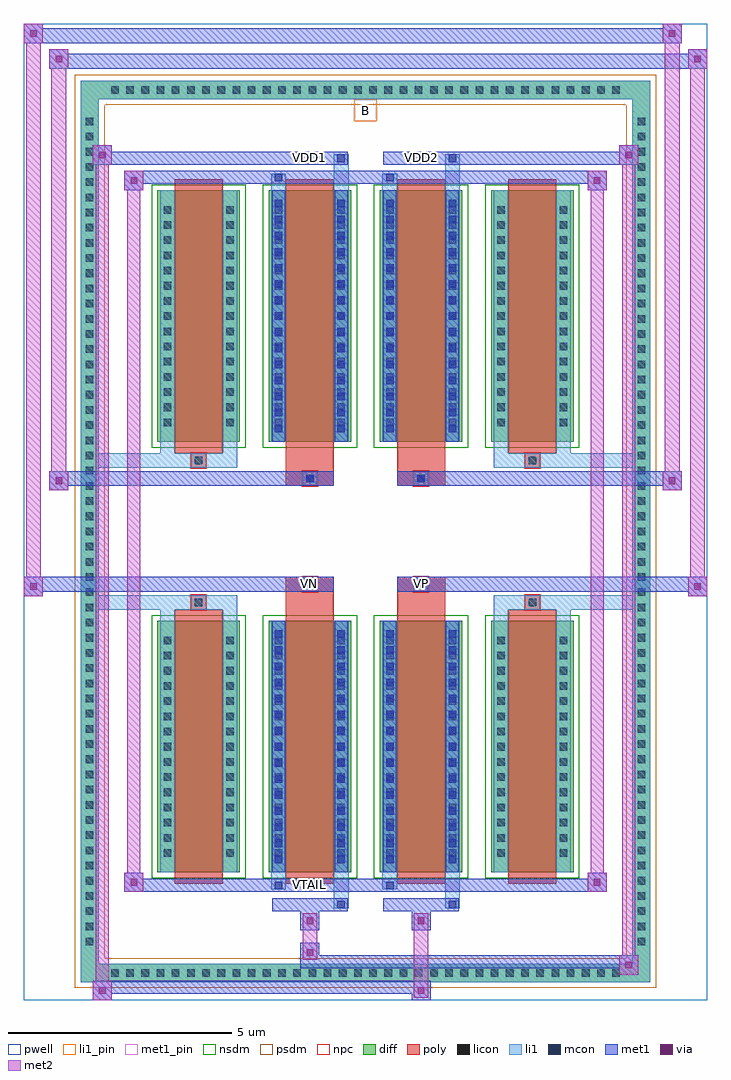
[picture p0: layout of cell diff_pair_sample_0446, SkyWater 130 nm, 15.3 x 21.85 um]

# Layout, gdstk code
import gdstk
lib = gdstk.Library(unit=1e-6, precision=5e-09)
def R(c, l, rs):  # rectangles x0, y0, x1, y1
    for r in rs: c.add(gdstk.rectangle(r[:2], r[2:], *l))
def A(c, l, x, y, w, h, nx, ny, dx, dy):  # array of equal rectangles
    R(c, l, [(x+i*dx, y+j*dy, x+i*dx+w, y+j*dy+h) for i in range(nx) for j in range(ny)])
def P(c, l, *ps):  # polygons
    for p in ps: c.add(gdstk.Polygon(p, *l))
pwell = (64, 44)
diff = (65, 20)
poly = (66, 20)
licon = (66, 44)
li1_pin = (67, 16)
li1 = (67, 20)
mcon = (67, 44)
met1_pin = (68, 16)
met1 = (68, 20)
via = (68, 44)
met2 = (69, 20)
nsdm = (93, 44)
psdm = (94, 20)
npc = (95, 20)

diff_pair_sample_0446 = lib.new_cell('diff_pair_sample_0446')
R(diff_pair_sample_0446, pwell, [(-7.65,-10.49,7.65,11.36), (-4.97,-8.68,-0.01,-0.82), (0.01,-8.68,4.97,-0.82), (-4.97,0.82,-0.01,8.68), (0.01,0.82,4.97,8.68)])
A(diff_pair_sample_0446, diff, -5.815, -10.09, 0.41, 0.41, 34, 2, 0.34, 19.77)
A(diff_pair_sample_0446, diff, -6.38, -9.385, 0.41, 0.41, 1, 55, 0, 0.34)
A(diff_pair_sample_0446, diff, 5.97, -9.385, 0.41, 0.41, 1, 55, 0, 0.34)
A(diff_pair_sample_0446, diff, -4.66, -7.635, 1.85, 5.63, 4, 2, 2.49, 9.64)
R(diff_pair_sample_0446, diff, [(-5.815,-10.09,5.815,-9.68), (-6.38,-9.385,-5.97,9.385), (5.97,-9.385,6.38,9.385), (-5.815,9.68,5.815,10.09)])
P(diff_pair_sample_0446, diff, [(6.38,10.09),(-6.38,10.09),(-6.38,-9.68),(-5.97,-9.68),(-5.97,9.68),(5.97,9.68),(5.97,-9.68),(-5.97,-9.68),(-6.38,-9.68),(-6.38,-10.09),(6.38,-10.09)])
A(diff_pair_sample_0446, poly, -4.27, -7.885, 1.07, 6.13, 4, 2, 2.49, 9.64)
R(diff_pair_sample_0446, poly, [(-3.9,-1.755,-3.57,-1.425), (-3.9,-1.755,-3.57,-1.425), (-1.78,-1.755,-0.71,-1.35), (0.71,-1.755,1.78,-1.35), (3.57,-1.755,3.9,-1.425), (3.57,-1.755,3.9,-1.425), (-1.78,-1.35,-0.71,-1.02), (-1.41,-1.35,-1.08,-1.02), (0.71,-1.35,1.78,-1.02), (1.08,-1.35,1.41,-1.02), (-1.78,1.02,-0.71,1.35), (-1.41,1.02,-1.08,1.35), (0.71,1.02,1.78,1.35), (1.08,1.02,1.41,1.35), (-1.78,1.35,-0.71,1.755), (0.71,1.35,1.78,1.755), (-3.9,1.425,-3.57,1.755), (-3.9,1.425,-3.57,1.755), (3.57,1.425,3.9,1.755), (3.57,1.425,3.9,1.755)])
A(diff_pair_sample_0446, licon, -5.695, -9.97, 0.17, 0.17, 34, 2, 0.34, 19.77)
A(diff_pair_sample_0446, licon, -6.26, -9.265, 0.17, 0.17, 1, 55, 0, 0.34)
A(diff_pair_sample_0446, licon, 6.09, -9.265, 0.17, 0.17, 1, 55, 0, 0.34)
A(diff_pair_sample_0446, licon, -4.52, -7.285, 0.17, 0.17, 1, 15, 0, 0.34)
A(diff_pair_sample_0446, licon, -3.12, -7.285, 0.17, 0.17, 1, 15, 0, 0.34)
A(diff_pair_sample_0446, licon, -2.03, -7.285, 0.17, 0.17, 1, 15, 0, 0.34)
A(diff_pair_sample_0446, licon, -0.63, -7.285, 0.17, 0.17, 1, 15, 0, 0.34)
A(diff_pair_sample_0446, licon, 0.46, -7.285, 0.17, 0.17, 1, 15, 0, 0.34)
A(diff_pair_sample_0446, licon, 1.86, -7.285, 0.17, 0.17, 1, 15, 0, 0.34)
A(diff_pair_sample_0446, licon, 2.95, -7.285, 0.17, 0.17, 1, 15, 0, 0.34)
A(diff_pair_sample_0446, licon, 4.35, -7.285, 0.17, 0.17, 1, 15, 0, 0.34)
A(diff_pair_sample_0446, licon, -4.52, 2.355, 0.17, 0.17, 1, 15, 0, 0.34)
A(diff_pair_sample_0446, licon, -3.12, 2.355, 0.17, 0.17, 1, 15, 0, 0.34)
A(diff_pair_sample_0446, licon, -2.03, 2.355, 0.17, 0.17, 1, 15, 0, 0.34)
A(diff_pair_sample_0446, licon, -0.63, 2.355, 0.17, 0.17, 1, 15, 0, 0.34)
A(diff_pair_sample_0446, licon, 0.46, 2.355, 0.17, 0.17, 1, 15, 0, 0.34)
A(diff_pair_sample_0446, licon, 1.86, 2.355, 0.17, 0.17, 1, 15, 0, 0.34)
A(diff_pair_sample_0446, licon, 2.95, 2.355, 0.17, 0.17, 1, 15, 0, 0.34)
A(diff_pair_sample_0446, licon, 4.35, 2.355, 0.17, 0.17, 1, 15, 0, 0.34)
R(diff_pair_sample_0446, licon, [(-3.82,-1.675,-3.65,-1.505), (3.65,-1.675,3.82,-1.505), (-1.33,-1.27,-1.16,-1.1), (1.16,-1.27,1.33,-1.1), (-1.33,1.1,-1.16,1.27), (1.16,1.1,1.33,1.27), (-3.82,1.505,-3.65,1.675), (3.65,1.505,3.82,1.675)])
R(diff_pair_sample_0446, li1_pin, [(-0.25,9.18,0.25,9.68)])
A(diff_pair_sample_0446, li1, -5.775, -10.05, 0.33, 0.33, 34, 2, 0.34, 19.77)
A(diff_pair_sample_0446, li1, -6.34, -9.345, 0.33, 0.33, 1, 55, 0, 0.34)
A(diff_pair_sample_0446, li1, 6.01, -9.345, 0.33, 0.33, 1, 55, 0, 0.34)
A(diff_pair_sample_0446, li1, -2.03, -7.425, 0.17, 0.17, 1, 15, 0, 0.36)
A(diff_pair_sample_0446, li1, -0.63, -7.425, 0.17, 0.17, 1, 15, 0, 0.36)
A(diff_pair_sample_0446, li1, 0.46, -7.425, 0.17, 0.17, 1, 15, 0, 0.36)
A(diff_pair_sample_0446, li1, 1.86, -7.425, 0.17, 0.17, 1, 15, 0, 0.36)
A(diff_pair_sample_0446, li1, -4.6, -7.365, 0.33, 0.33, 1, 15, 0, 0.34)
A(diff_pair_sample_0446, li1, -3.2, -7.365, 0.33, 0.33, 1, 15, 0, 0.34)
A(diff_pair_sample_0446, li1, -2.11, -7.365, 0.33, 0.33, 1, 15, 0, 0.34)
A(diff_pair_sample_0446, li1, -0.71, -7.365, 0.33, 0.33, 1, 15, 0, 0.34)
A(diff_pair_sample_0446, li1, 0.38, -7.365, 0.33, 0.33, 1, 15, 0, 0.34)
A(diff_pair_sample_0446, li1, 1.78, -7.365, 0.33, 0.33, 1, 15, 0, 0.34)
A(diff_pair_sample_0446, li1, 2.87, -7.365, 0.33, 0.33, 1, 15, 0, 0.34)
A(diff_pair_sample_0446, li1, 4.27, -7.365, 0.33, 0.33, 1, 15, 0, 0.34)
A(diff_pair_sample_0446, li1, -2.03, 2.215, 0.17, 0.17, 1, 15, 0, 0.36)
A(diff_pair_sample_0446, li1, -0.63, 2.215, 0.17, 0.17, 1, 15, 0, 0.36)
A(diff_pair_sample_0446, li1, 0.46, 2.215, 0.17, 0.17, 1, 15, 0, 0.36)
A(diff_pair_sample_0446, li1, 1.86, 2.215, 0.17, 0.17, 1, 15, 0, 0.36)
A(diff_pair_sample_0446, li1, -4.6, 2.275, 0.33, 0.33, 1, 15, 0, 0.34)
A(diff_pair_sample_0446, li1, -3.2, 2.275, 0.33, 0.33, 1, 15, 0, 0.34)
A(diff_pair_sample_0446, li1, -2.11, 2.275, 0.33, 0.33, 1, 15, 0, 0.34)
A(diff_pair_sample_0446, li1, -0.71, 2.275, 0.33, 0.33, 1, 15, 0, 0.34)
A(diff_pair_sample_0446, li1, 0.38, 2.275, 0.33, 0.33, 1, 15, 0, 0.34)
A(diff_pair_sample_0446, li1, 1.78, 2.275, 0.33, 0.33, 1, 15, 0, 0.34)
A(diff_pair_sample_0446, li1, 2.87, 2.275, 0.33, 0.33, 1, 15, 0, 0.34)
A(diff_pair_sample_0446, li1, 4.27, 2.275, 0.33, 0.33, 1, 15, 0, 0.34)
R(diff_pair_sample_0446, li1, [(-6.38,-10.09,-5.97,-9.68), (-6.38,-10.09,-5.97,-9.68), (-5.97,-10.09,5.97,-9.68), (5.97,-10.09,6.38,-9.68), (5.97,-10.09,6.38,-9.68), (-6.38,-9.68,-5.97,9.68), (5.97,-9.68,6.38,9.68), (-0.71,-8.44,-0.38,-7.635), (-0.63,-8.44,-0.46,-8.27), (1.78,-8.44,2.11,-7.635), (1.86,-8.44,2.03,-8.27), (-2.11,-8.01,-1.78,-7.635), (-2.03,-8.01,-1.86,-7.84), (0.38,-8.01,0.71,-7.635), (0.46,-8.01,0.63,-7.84), (-4.6,-7.635,-4.27,-2.005), (-3.2,-7.635,-2.87,-2.005), (-2.11,-7.635,-1.78,-2.005), (-0.71,-7.635,-0.38,-2.005), (0.38,-7.635,0.71,-2.005), (1.78,-7.635,2.11,-2.005), (2.87,-7.635,3.2,-2.005), (4.27,-7.635,4.6,-2.005), (-2.03,-7.425,-1.86,-2.215), (-0.63,-7.425,-0.46,-2.215), (0.46,-7.425,0.63,-2.215), (1.86,-7.425,2.03,-2.215), (-4.6,-2.005,-4.27,-1.425), (-3.2,-2.005,-2.87,-1.425), (2.87,-2.005,3.2,-1.425), (4.27,-2.005,4.6,-1.425), (-6.38,-1.755,-3.9,-1.425), (-4.6,-1.755,-3.9,-1.425), (-3.9,-1.755,-3.57,-1.425), (-3.57,-1.755,-2.87,-1.425), (2.87,-1.755,3.57,-1.425), (3.57,-1.755,3.9,-1.425), (3.57,-1.755,6.38,-1.425), (3.9,-1.755,4.6,-1.425), (-1.41,-1.35,-1.08,-1.02), (1.08,-1.35,1.41,-1.02), (-1.41,1.02,-1.08,1.35), (1.08,1.02,1.41,1.35), (-6.38,1.425,-3.9,1.755), (-4.6,1.425,-3.9,1.755), (-4.6,1.425,-4.27,2.005), (-3.9,1.425,-3.57,1.755), (-3.57,1.425,-2.87,1.755), (-3.2,1.425,-2.87,2.005), (2.87,1.425,3.57,1.755), (2.87,1.425,3.2,2.005), (3.57,1.425,3.9,1.755), (3.57,1.425,6.38,1.755), (3.9,1.425,4.6,1.755), (4.27,1.425,4.6,2.005), (-4.6,2.005,-4.27,7.635), (-3.2,2.005,-2.87,7.635), (-2.11,2.005,-1.78,7.635), (-0.71,2.005,-0.38,7.635), (0.38,2.005,0.71,7.635), (1.78,2.005,2.11,7.635), (2.87,2.005,3.2,7.635), (4.27,2.005,4.6,7.635), (-2.03,2.215,-1.86,7.425), (-0.63,2.215,-0.46,7.425), (0.46,2.215,0.63,7.425), (1.86,2.215,2.03,7.425), (-2.11,7.635,-1.78,8.01), (-0.71,7.635,-0.38,8.44), (0.38,7.635,0.71,8.01), (1.78,7.635,2.11,8.44), (-2.03,7.84,-1.86,8.01), (0.46,7.84,0.63,8.01), (-0.63,8.27,-0.46,8.44), (1.86,8.27,2.03,8.44), (-6.38,9.68,-5.97,10.09), (-6.38,9.68,-5.97,10.09), (-5.97,9.68,5.97,10.09), (5.97,9.68,6.38,10.09), (5.97,9.68,6.38,10.09)])
A(diff_pair_sample_0446, mcon, -2.03, -7.425, 0.17, 0.17, 1, 15, 0, 0.36)
A(diff_pair_sample_0446, mcon, -0.63, -7.425, 0.17, 0.17, 1, 15, 0, 0.36)
A(diff_pair_sample_0446, mcon, 0.46, -7.425, 0.17, 0.17, 1, 15, 0, 0.36)
A(diff_pair_sample_0446, mcon, 1.86, -7.425, 0.17, 0.17, 1, 15, 0, 0.36)
A(diff_pair_sample_0446, mcon, -2.03, 2.215, 0.17, 0.17, 1, 15, 0, 0.36)
A(diff_pair_sample_0446, mcon, -0.63, 2.215, 0.17, 0.17, 1, 15, 0, 0.36)
A(diff_pair_sample_0446, mcon, 0.46, 2.215, 0.17, 0.17, 1, 15, 0, 0.36)
A(diff_pair_sample_0446, mcon, 1.86, 2.215, 0.17, 0.17, 1, 15, 0, 0.36)
R(diff_pair_sample_0446, mcon, [(-0.63,-8.44,-0.46,-8.27), (1.86,-8.44,2.03,-8.27), (-2.03,-8.01,-1.86,-7.84), (0.46,-8.01,0.63,-7.84), (-1.33,-1.27,-1.16,-1.1), (1.16,-1.27,1.33,-1.1), (-1.33,1.1,-1.16,1.27), (1.16,1.1,1.33,1.27), (-2.03,7.84,-1.86,8.01), (0.46,7.84,0.63,8.01), (-0.63,8.27,-0.46,8.44), (1.86,8.27,2.03,8.44)])
R(diff_pair_sample_0446, met1_pin, [(-1.38,-8.05,-1.11,-7.78), (-1.38,-1.29,-1.11,-1.02), (1.11,-1.29,1.38,-1.02), (-1.38,8.23,-1.11,8.5), (1.11,8.23,1.38,8.5)])
A(diff_pair_sample_0446, met1, -2.09, -7.485, 0.29, 0.29, 1, 15, 0, 0.36)
A(diff_pair_sample_0446, met1, -0.69, -7.485, 0.29, 0.29, 1, 15, 0, 0.36)
A(diff_pair_sample_0446, met1, 0.4, -7.485, 0.29, 0.29, 1, 15, 0, 0.36)
A(diff_pair_sample_0446, met1, 1.8, -7.485, 0.29, 0.29, 1, 15, 0, 0.36)
A(diff_pair_sample_0446, met1, -2.09, 2.155, 0.29, 0.29, 1, 15, 0, 0.36)
A(diff_pair_sample_0446, met1, -0.69, 2.155, 0.29, 0.29, 1, 15, 0, 0.36)
A(diff_pair_sample_0446, met1, 0.4, 2.155, 0.29, 0.29, 1, 15, 0, 0.36)
A(diff_pair_sample_0446, met1, 1.8, 2.155, 0.29, 0.29, 1, 15, 0, 0.36)
R(diff_pair_sample_0446, met1, [(-6.11,-10.49,-5.68,-10.06), (1.03,-10.49,1.46,-10.06), (-6.11,-10.35,1.46,-10.06), (5.68,-9.92,6.11,-9.49), (-1.46,-9.78,6.11,-9.49), (-1.46,-9.64,-1.03,-9.21), (-1.46,-8.93,-1.03,-8.5), (1.03,-8.93,1.46,-8.5), (-2.09,-8.5,-0.4,-8.21), (-0.69,-8.5,-0.4,-8.21), (0.4,-8.5,2.09,-8.21), (1.8,-8.5,2.09,-8.21), (-5.4,-8.07,-4.97,-7.64), (-5.4,-8.07,-2.09,-7.78), (-2.09,-8.07,-1.8,-7.78), (-2.09,-8.07,-0.4,-7.78), (-0.4,-8.07,0.4,-7.78), (0.4,-8.07,0.69,-7.78), (0.4,-8.07,2.09,-7.78), (2.09,-8.07,5.4,-7.78), (4.97,-8.07,5.4,-7.64), (-2.09,-7.635,-1.8,-2.005), (-0.69,-7.635,-0.4,-2.005), (0.4,-7.635,0.69,-2.005), (1.8,-7.635,2.09,-2.005), (-7.65,-1.45,-7.22,-1.02), (7.22,-1.45,7.65,-1.02), (-7.65,-1.35,-0.71,-1.02), (-1.78,-1.35,-0.71,-1.02), (0.71,-1.35,1.78,-1.02), (0.71,-1.35,7.65,-1.02), (-1.39,-1.33,-1.1,-1.04), (1.1,-1.33,1.39,-1.04), (-7.08,0.92,-6.65,1.35), (6.65,0.92,7.08,1.35), (-7.08,1.02,-1.78,1.35), (-1.78,1.02,-0.71,1.35), (0.71,1.02,1.78,1.35), (1.78,1.02,7.08,1.35), (-1.39,1.04,-1.1,1.33), (1.1,1.04,1.39,1.33), (-2.09,2.005,-1.8,7.635), (-0.69,2.005,-0.4,7.635), (0.4,2.005,0.69,7.635), (1.8,2.005,2.09,7.635), (-5.4,7.64,-4.97,8.07), (4.97,7.64,5.4,8.07), (-5.4,7.78,-2.09,8.07), (-2.09,7.78,-1.8,8.07), (-2.09,7.78,-0.4,8.07), (-0.4,7.78,0.4,8.07), (0.4,7.78,0.69,8.07), (0.4,7.78,2.09,8.07), (2.09,7.78,5.4,8.07), (-6.11,8.21,-5.68,8.64), (-6.11,8.21,-2.09,8.5), (-2.09,8.21,-0.4,8.5), (-0.69,8.21,-0.4,8.5), (0.4,8.21,2.09,8.5), (1.8,8.21,2.09,8.5), (2.09,8.21,6.11,8.5), (5.68,8.21,6.11,8.64), (-7.08,10.36,-6.65,10.79), (-7.08,10.36,-4.97,10.69), (-4.97,10.36,4.97,10.69), (4.97,10.36,7.65,10.69), (7.22,10.36,7.65,10.79), (-7.65,10.93,-7.22,11.36), (-7.65,10.93,-4.97,11.26), (-4.97,10.93,4.97,11.26), (4.97,10.93,7.08,11.26), (6.65,10.93,7.08,11.36)])
R(diff_pair_sample_0446, via, [(-5.97,-10.35,-5.82,-10.2), (1.17,-10.35,1.32,-10.2), (5.82,-9.78,5.97,-9.63), (-1.32,-9.5,-1.17,-9.35), (-1.32,-8.79,-1.17,-8.64), (1.17,-8.79,1.32,-8.64), (-5.26,-7.93,-5.11,-7.78), (5.11,-7.93,5.26,-7.78), (-7.51,-1.31,-7.36,-1.16), (7.36,-1.31,7.51,-1.16), (-6.94,1.06,-6.79,1.21), (6.79,1.06,6.94,1.21), (-5.26,7.78,-5.11,7.93), (5.11,7.78,5.26,7.93), (-5.97,8.35,-5.82,8.5), (5.82,8.35,5.97,8.5), (-6.94,10.5,-6.79,10.65), (7.36,10.5,7.51,10.65), (-7.51,11.07,-7.36,11.22), (6.79,11.07,6.94,11.22)])
R(diff_pair_sample_0446, met2, [(-6.11,-10.49,-5.68,-10.06), (-6.04,-10.49,-5.75,8.64), (-5.75,-10.49,-5.68,-10.06), (-6.06,-10.44,-5.73,-10.11), (1.08,-10.44,1.41,-10.11), (1.08,-10.11,1.41,-8.88), (5.68,-9.92,6.11,-9.49), (5.75,-9.92,6.04,8.64), (6.04,-9.92,6.11,-9.49), (5.73,-9.87,6.06,-9.54), (-1.41,-9.59,-1.08,-9.26), (-1.41,-9.26,-1.08,-8.88), (-1.41,-8.88,-1.08,-8.55), (1.08,-8.88,1.41,-8.55), (-5.4,-8.07,-4.97,-7.64), (-5.33,-8.07,-5.04,8.07), (-5.04,-8.07,-4.97,-7.64), (4.97,-8.07,5.4,-7.64), (5.04,-8.07,5.33,8.07), (5.33,-8.07,5.4,-7.64), (-5.35,-8.02,-5.02,-7.69), (5.02,-8.02,5.35,-7.69), (-7.65,-1.45,-7.22,-1.02), (-7.6,-1.45,-7.27,11.36), (-7.27,-1.45,-7.22,-1.02), (7.22,-1.45,7.65,-1.02), (7.27,-1.45,7.6,10.79), (7.6,-1.45,7.65,-1.02), (-7.6,-1.4,-7.27,-1.07), (7.27,-1.4,7.6,-1.07), (-7.08,0.92,-6.65,1.35), (-7.03,0.92,-6.7,10.79), (-6.7,0.92,-6.65,1.35), (6.65,0.92,7.08,1.35), (6.7,0.92,7.03,11.36), (7.03,0.92,7.08,1.35), (-7.03,0.97,-6.7,1.3), (6.7,0.97,7.03,1.3), (-5.4,7.64,-4.97,8.07), (-5.04,7.64,-4.97,8.07), (4.97,7.64,5.4,8.07), (5.33,7.64,5.4,8.07), (-5.35,7.69,-5.02,8.02), (5.02,7.69,5.35,8.02), (-6.11,8.21,-5.68,8.64), (-5.75,8.21,-5.68,8.64), (5.68,8.21,6.11,8.64), (6.04,8.21,6.11,8.64), (-6.06,8.26,-5.73,8.59), (5.73,8.26,6.06,8.59), (-7.08,10.36,-6.65,10.79), (-6.7,10.36,-6.65,10.79), (7.22,10.36,7.65,10.79), (7.6,10.36,7.65,10.79), (-7.03,10.41,-6.7,10.74), (7.27,10.41,7.6,10.74), (-7.65,10.93,-7.22,11.36), (-7.27,10.93,-7.22,11.36), (6.65,10.93,7.08,11.36), (7.03,10.93,7.08,11.36), (-7.6,10.98,-7.27,11.31), (6.7,10.98,7.03,11.31)])
A(diff_pair_sample_0446, nsdm, -4.79, -7.765, 2.11, 5.89, 4, 2, 2.49, 9.64)
P(diff_pair_sample_0446, psdm, [(6.51,10.22),(-6.51,10.22),(-6.51,-9.55),(-5.84,-9.55),(-5.84,9.55),(5.84,9.55),(5.84,-9.55),(-5.84,-9.55),(-6.51,-9.55),(-6.51,-10.22),(6.51,-10.22)])
R(diff_pair_sample_0446, npc, [(-3.92,-1.775,-3.55,-1.405), (3.55,-1.775,3.92,-1.405), (-1.43,-1.37,-1.06,-1), (1.06,-1.37,1.43,-1), (-1.43,1,-1.06,1.37), (1.06,1,1.43,1.37), (-3.92,1.405,-3.55,1.775), (3.55,1.405,3.92,1.775)])
diff_pair_sample_0446.add(gdstk.Label('VTAIL', (-1.245,-7.915), layer=68, texttype=5))
diff_pair_sample_0446.add(gdstk.Label('VN', (-1.245,-1.155), layer=68, texttype=5))
diff_pair_sample_0446.add(gdstk.Label('VP', (1.245,-1.155), layer=68, texttype=5))
diff_pair_sample_0446.add(gdstk.Label('B', (0,9.43), layer=67, texttype=5))
diff_pair_sample_0446.add(gdstk.Label('VDD2', (1.245,8.365), layer=68, texttype=5))
diff_pair_sample_0446.add(gdstk.Label('VDD1', (-1.245,8.365), layer=68, texttype=5))

lib.write_gds('diff_pair_sample_0446.gds')
